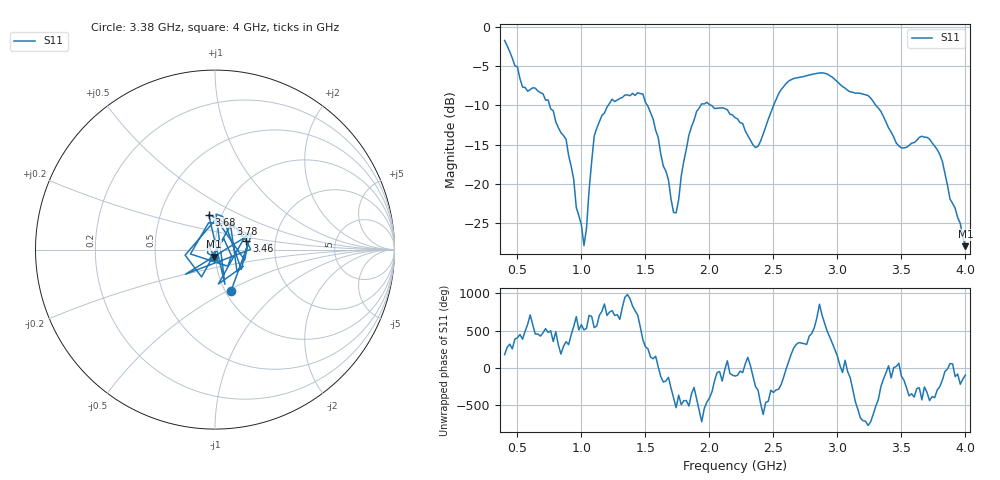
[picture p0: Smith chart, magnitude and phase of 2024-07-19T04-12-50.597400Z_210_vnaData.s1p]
!Created with skrf (http://scikit-rf.org).
# Hz S RI R 50.0
!freq ReS11 ImS11
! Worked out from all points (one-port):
!   181 points, 400 MHz to 4 GHz, reference 50 ohm
!   lowest |S11| = -28.0 dB at 4 GHz (marker M1), VSWR 1.08, Z = 49.1 - j3.86 ohm
!   |S11| at or under -10 dB: 752.1 MHz to 1.209 GHz (456.9 MHz wide, 46.6 % of centre); 2.014 GHz to 2.502 GHz (487.5 MHz wide, 21.6 % of centre); 3.3 GHz to end of sweep (the widest 3 of 4)
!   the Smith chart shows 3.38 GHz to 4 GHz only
!   S11 on the Smith chart (normalised r, x): 3.38 GHz: 1.06, -0.52; 3.46 GHz: 1.42, +0.14; 3.68 GHz: 0.87, +0.35; 3.78 GHz: 1.14, +0.33; 4 GHz: 0.98, -0.08
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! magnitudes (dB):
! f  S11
! 400 MHz  -1.7
! 540 MHz  -7.7
! 700 MHz  -8.5
! 860 MHz  -13.8
! 940 MHz  -19.4
! 960 MHz  -23.0
! 1.02 GHz  -27.9
! 1.1 GHz  -13.9
! 1.3 GHz  -9.1
! 1.48 GHz  -8.5
! 1.6 GHz  -14.1
! 1.72 GHz  -23.7
! 1.76 GHz  -22.0
! 1.84 GHz  -13.8
! 1.94 GHz  -9.8
! 2.2 GHz  -11.6
! 2.38 GHz  -15.2
! 2.54 GHz  -8.5
! 2.66 GHz  -6.6
! 2.9 GHz  -5.9
! 3.1 GHz  -8.3
! 3.24 GHz  -8.7
! 3.38 GHz  -12.1
! 3.46 GHz  -14.8
! 3.56 GHz  -15.1
! 3.68 GHz  -14.1
! 3.78 GHz  -15.6
! 4 GHz  -28.0
